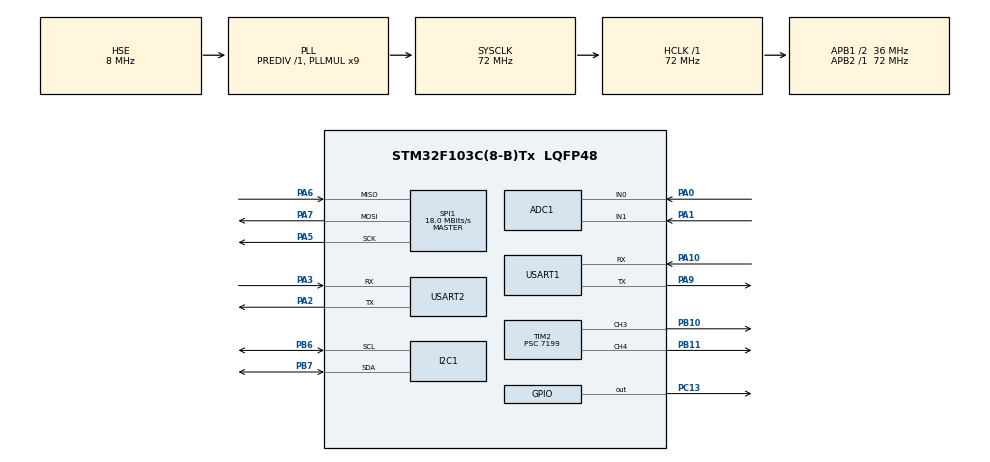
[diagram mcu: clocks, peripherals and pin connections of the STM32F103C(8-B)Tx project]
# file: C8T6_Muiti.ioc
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ADC1.Channel-0\#ChannelRegularConversion=ADC_CHANNEL_0
ADC1.Channel-1\#ChannelRegularConversion=ADC_CHANNEL_1
ADC1.ContinuousConvMode=ENABLE
ADC1.DataAlign=ADC_DATAALIGN_RIGHT
ADC1.DiscontinuousConvMode=DISABLE
ADC1.EnableAnalogWatchDog=true
ADC1.EnableRegularConversion=ENABLE
ADC1.ExternalTrigConv=ADC_SOFTWARE_START
ADC1.InjNumberOfConversion=0
ADC1.NbrOfConversion=2
ADC1.NbrOfConversionFlag=1
ADC1.Rank-0\#ChannelRegularConversion=1
ADC1.Rank-1\#ChannelRegularConversion=2
ADC1.SamplingTime-0\#ChannelRegularConversion=ADC_SAMPLETIME_239CYCLES_5
ADC1.SamplingTime-1\#ChannelRegularConversion=ADC_SAMPLETIME_239CYCLES_5
ADC1.ScanConvMode=ADC_SCAN_ENABLE
ADC1.master=1
Dma.ADC1.0.Direction=DMA_PERIPH_TO_MEMORY
Dma.ADC1.0.Instance=DMA1_Channel1
Dma.ADC1.0.MemDataAlignment=DMA_MDATAALIGN_HALFWORD
Dma.ADC1.0.MemInc=DMA_MINC_ENABLE
Dma.ADC1.0.Mode=DMA_NORMAL
Dma.ADC1.0.PeriphDataAlignment=DMA_PDATAALIGN_HALFWORD
Dma.ADC1.0.PeriphInc=DMA_PINC_DISABLE
Dma.ADC1.0.Priority=DMA_PRIORITY_LOW
Dma.Request0=ADC1
I2C1.DutyCycle=I2C_DUTYCYCLE_16_9
I2C1.I2C_Mode=I2C_Fast
Mcu.Family=STM32F1
Mcu.Name=STM32F103C(8-B)Tx
Mcu.Package=LQFP48
NVIC.ADC1_2_IRQn=true\:0\:0\:false\:false\:true
NVIC.DMA1_Channel1_IRQn=true\:0\:0\:false\:false\:true
NVIC.PriorityGroup=NVIC_PRIORITYGROUP_4
NVIC.RCC_IRQn=true\:0\:0\:false\:false\:true
NVIC.TIM2_IRQn=true\:0\:0\:false\:false\:true
NVIC.TIM3_IRQn=true\:0\:0\:false\:false\:true
NVIC.USART1_IRQn=true\:0\:0\:false\:false\:true
NVIC.USART2_IRQn=true\:0\:0\:false\:false\:true
PA0-WKUP.Signal=ADCx_IN0
PA1.Signal=ADCx_IN1
PA10.Mode=Asynchronous
PA10.Signal=USART1_RX
PA2.Mode=Asynchronous
PA2.Signal=USART2_TX
PA3.Mode=Asynchronous
PA3.Signal=USART2_RX
PA5.Mode=Full_Duplex_Master
PA5.Signal=SPI1_SCK
PA6.Mode=Full_Duplex_Master
PA6.Signal=SPI1_MISO
PA7.Mode=Full_Duplex_Master
PA7.Signal=SPI1_MOSI
PA9.Mode=Asynchronous
PA9.Signal=USART1_TX
PB10.Signal=S_TIM2_CH3
PB11.Signal=S_TIM2_CH4
PB6.Mode=I2C
PB6.Signal=I2C1_SCL
PB7.Mode=I2C
PB7.Signal=I2C1_SDA
PC13-TAMPER-RTC.Signal=GPIO_Output
PD0-OSC_IN.Mode=HSE-External-Oscillator
PD0-OSC_IN.Signal=RCC_OSC_IN
PD1-OSC_OUT.Mode=HSE-External-Oscillator
PD1-OSC_OUT.Signal=RCC_OSC_OUT
ProjectManager.HeapSize=0x200
ProjectManager.StackSize=0x400
ProjectManager.TargetToolchain=TrueSTUDIO
RCC.ADCPresc=RCC_ADCPCLK2_DIV6
RCC.AHBFreq_Value=72000000
RCC.APB1CLKDivider=RCC_HCLK_DIV2
RCC.APB1Freq_Value=36000000
RCC.APB1TimFreq_Value=72000000
RCC.APB2Freq_Value=72000000
RCC.APB2TimFreq_Value=72000000
RCC.HCLKFreq_Value=72000000
RCC.HSIState=RCC_HSI_ON
RCC.PLLMUL=RCC_PLL_MUL9
RCC.PLLSourceVirtual=RCC_PLLSOURCE_HSE
RCC.SYSCLKFreq_VALUE=72000000
RCC.SYSCLKSource=RCC_SYSCLKSOURCE_PLLCLK
RCC.USBFreq_Value=72000000
SH.ADCx_IN0.0=ADC1_IN0,IN0
SH.ADCx_IN1.0=ADC1_IN1,IN1
SH.S_TIM2_CH3.0=TIM2_CH3,PWM Generation3 CH3
SH.S_TIM2_CH4.0=TIM2_CH4,PWM Generation4 CH4
SPI1.BaudRatePrescaler=SPI_BAUDRATEPRESCALER_4
SPI1.CalculateBaudRate=18.0 MBits/s
SPI1.Mode=SPI_MODE_MASTER
TIM1.Period=9999
TIM1.Prescaler=7199
TIM2.Channel-PWM\ Generation3\ CH3=TIM_CHANNEL_3
TIM2.Channel-PWM\ Generation4\ CH4=TIM_CHANNEL_4
TIM2.Period=99
TIM2.Prescaler=7199
TIM3.Period=4999
TIM3.Prescaler=7199
VP_SYS_VS_ND.Mode=No_Debug
VP_TIM1_VS_ClockSourceINT.Mode=Internal
VP_TIM2_VS_ClockSourceINT.Mode=Internal
VP_TIM3_VS_ClockSourceINT.Mode=Internal
board=C8T6_Muiti

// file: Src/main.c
/**
  ******************************************************************************
  * File Name          : main.c
  * Description        : Main program body
  ******************************************************************************
  *
  * COPYRIGHT(c) 2017 STMicroelectronics
  *
  * Redistribution and use in source and binary forms, with or without modification,
  * are permitted provided that the following conditions are met:
  *   1. Redistributions of source code must retain the above copyright notice,
  *      this list of conditions and the following disclaimer.
  *   2. Redistributions in binary form must reproduce the above copyright notice,
  *      this list of conditions and the following disclaimer in the documentation
  *      and/or other materials provided with the distribution.
  *   3. Neither the name of STMicroelectronics nor the names of its contributors
  *      may be used to endorse or promote products derived from this software
  *      without specific prior written permission.
  *
  * THIS SOFTWARE IS PROVIDED BY THE COPYRIGHT HOLDERS AND CONTRIBUTORS "AS IS"
  * AND ANY EXPRESS OR IMPLIED WARRANTIES, INCLUDING, BUT NOT LIMITED TO, THE
  * IMPLIED WARRANTIES OF MERCHANTABILITY AND FITNESS FOR A PARTICULAR PURPOSE ARE
  * DISCLAIMED. IN NO EVENT SHALL THE COPYRIGHT HOLDER OR CONTRIBUTORS BE LIABLE
  * FOR ANY DIRECT, INDIRECT, INCIDENTAL, SPECIAL, EXEMPLARY, OR CONSEQUENTIAL
  * DAMAGES (INCLUDING, BUT NOT LIMITED TO, PROCUREMENT OF SUBSTITUTE GOODS OR
  * SERVICES; LOSS OF USE, DATA, OR PROFITS; OR BUSINESS INTERRUPTION) HOWEVER
  * CAUSED AND ON ANY THEORY OF LIABILITY, WHETHER IN CONTRACT, STRICT LIABILITY,
  * OR TORT (INCLUDING NEGLIGENCE OR OTHERWISE) ARISING IN ANY WAY OUT OF THE USE
  * OF THIS SOFTWARE, EVEN IF ADVISED OF THE POSSIBILITY OF SUCH DAMAGE.
  *
  ******************************************************************************
  */
#include "main.h"
#include "stm32f1xx_hal.h"

/* USER CODE BEGIN Includes */
#include <stdio.h>
#include <string.h>
#include <math.h>
#include "my_mpu6050.h"

/* USER CODE END Includes */

ADC_HandleTypeDef hadc1;
DMA_HandleTypeDef hdma_adc1;

I2C_HandleTypeDef hi2c1;

SPI_HandleTypeDef hspi1;

TIM_HandleTypeDef htim1;
TIM_HandleTypeDef htim2;
TIM_HandleTypeDef htim3;

UART_HandleTypeDef huart1;
UART_HandleTypeDef huart2;

/* USER CODE BEGIN PV */
/* Private variables ---------------------------------------------------------*/
uint8_t Rx_Data2;            // uart2 receive data buffer
uint8_t Transfer_cplt2=0;
uint8_t count = 0,n;
char    sprt[50],gyroData[60],bufdata[14]={0,},i2cTxData[2],CaliBuf[7];
uint8_t MpuSetReady = 0,i2cStart=0;
volatile char Ten = 0,calibrate = 0;

/* Initialization of variables for kalman filter */
float alpha = 0.9,FSSEL=131;
float x_next[7], P_next[7], z[7],K[7],nn[7]={0,},nnadd[7]={0,},Caliave[7]={0,};
float P[7]={1,1,1,1,1,1,1};
float Q[7]={0.001,0.001,0.001,0.001,0.001,0.001,0.001};
float R[7]={0.02,0.02,0.02,0.02,0.02,0.02,0.02};
float xfilter_value[7]={0,0,0,0,0,0,0};

// gyro angle 계산용
float temp;
float gyro_x,gyro_y,gyro_z;
float accel_x,accel_y,accel_z;
float angle_x,angle_y,angle_z;
float accel_angle_x,accel_angle_y,accel_angle_z;
float gyro_angle_x,gyro_angle_y,gyro_angle_z;
float last_x_angle=0,last_y_angle=0,last_z_angle=0;
float last_gyro_x_angle=0,last_gyro_y_angle=0,last_gyro_z_angle=0;
float unfiltered_gyro_angle_x,unfiltered_gyro_angle_y,unfiltered_gyro_angle_z;

/* USER CODE END PV */

void SystemClock_Config(void);
void Error_Handler(void);
static void MX_GPIO_Init(void);
static void MX_DMA_Init(void);
static void MX_ADC1_Init(void);
static void MX_I2C1_Init(void);
static void MX_SPI1_Init(void);
static void MX_TIM1_Init(void);
static void MX_TIM2_Init(void);
static void MX_USART1_UART_Init(void);
static void MX_TIM3_Init(void);
static void MX_USART2_UART_Init(void);

void HAL_TIM_MspPostInit(TIM_HandleTypeDef *htim);

/* USER CODE BEGIN PFP */
/* Private function prototypes -----------------------------------------------*/
void HAL_TIM_PeriodElapsedCallback(TIM_HandleTypeDef *htim);
void HAL_UART_RxCpltCallback(UART_HandleTypeDef *huart);
void kalman_filter();

/* USER CODE END PFP */

/* USER CODE BEGIN 0 */
void HAL_UART_RxCpltCallback(UART_HandleTypeDef *huart)
{
	if(huart->Instance==USART1){
		HAL_UART_Transmit(&huart1,(uint8_t *)&Rx_Data2, 1,1000);
		HAL_UART_Receive_IT(&huart1,(uint8_t *)&Rx_Data2, 1);
//		HAL_GPIO_TogglePin(LD2_GPIO_Port, LD2_Pin);
	}
/*	if(huart->Instance==UART5){
		HAL_UART_Transmit(&huart2,(uint8_t *)&Rx_Data5, 1,1000);
		HAL_UART_Receive_IT(&huart5,(uint8_t *)&Rx_Data5, 1);
	} */
}

void HAL_TIM_PeriodElapsedCallback(TIM_HandleTypeDef *htim)
{
	int n;

	if(htim->Instance==TIM2) {       // 1 sec interrupt
		HAL_GPIO_TogglePin(GPIOC, GPIO_PIN_13);
	}
	else if(htim->Instance==TIM3) {  // 1/100 sec interrupt
		//HAL_GPIO_TogglePin(GPIOC, GPIO_PIN_13);
		i2cTxData[0] = (uint8_t)0x3B;      // 0x3B - GYRO data register start address
		i2cTxData[1] = (uint8_t)0;         // 0
		while(HAL_I2C_Master_Transmit(&hi2c1,(uint16_t)MPU6050,(uint8_t *)&i2cTxData[0],1,1000)!=HAL_OK);  // 0x3B
		while(HAL_I2C_Master_Receive (&hi2c1,(uint16_t)MPU6050,(uint8_t *)bufdata,14,1000)!=HAL_OK);

		for(n=0;n<7;n++)	nn[n] = ((int16_t)(bufdata[n*2]<<8)| bufdata[n*2+1]);
	    memset(bufdata,0x00,14);

		// 10ms에 합번씩 총 10회 읽어서 10으로 나누어 평균으로 구한 뒤 칼만필터로 계산한다.
		// 단, 첫 10회 데이터를 획득하여 평균을 구한다. 시작시 1번만......
		Ten++;
		if(Ten < 10) {
			for(n=0;n<7;n++) nnadd[n] += nn[n];
			return;
		}
		else Ten = 10;
		// 10번 읽어 평균을 구한다. 한번만 실행....
		if(!calibrate) {
			for(n=0;n<7;n++)	Caliave[n] = nnadd[n] / 10.0; // 초기 평균값을 저장한다.
			calibrate = 1;
		}

		kalman_filter();
	}

}

// 7개의 값을 칼만필터 적용.........................................................
void kalman_filter()
{
	int ifilter;
	char fstr[100];

	// **********************************
    // Iteration loop .. 칼만 필터 적용..
	// **********************************
    for(ifilter=0;ifilter<7;ifilter++) {
    	x_next[ifilter]=xfilter_value[ifilter];
    	P_next[ifilter]=P[ifilter]+Q[ifilter];
    	K[ifilter]=P_next[ifilter]/(P_next[ifilter]+R[ifilter]);
    	// Original Data : z
    	z[ifilter]=(float)nn[ifilter];
    	// Kalman   filter : xfilter_value
    	xfilter_value[ifilter]=x_next[ifilter]+K[ifilter]*(z[ifilter]-x_next[ifilter]);
    	P[ifilter]=(1-K[ifilter])*P_next[ifilter];
    }

    accel_x = xfilter_value[0];
    accel_y = xfilter_value[1];
    accel_z = xfilter_value[2];
    temp    =  (xfilter_value[3]+12412)/340.0;
    gyro_x = (xfilter_value[4] - Caliave[4]) / FSSEL;
    gyro_y = (xfilter_value[5] - Caliave[5]) / FSSEL;
    gyro_z = (xfilter_value[6] - Caliave[6]) / FSSEL;

    // accelator 값 보정. atan(y/sqrt(pow(x,2)+pow(y,2))
    accel_angle_x = atan(accel_y   /sqrt(pow(accel_x,2)+pow(accel_z,2)))*57.29579;
    accel_angle_y = atan(-1*accel_x/sqrt(pow(accel_y,2)+pow(accel_z,2)))*57.29579;
    accel_angle_z = 0;

    accel_angle_x = (int)(accel_angle_x*10)/10.0;
    accel_angle_y = (int)(accel_angle_y*10)/10.0;

    // gyro angle 계산 1
    gyro_angle_x = (int)((gyro_x*0.01 + last_x_angle)*10) / 10.0;
    gyro_angle_y = (int)((gyro_y*0.01 + last_y_angle)*10) / 10.0;
//    gyro_angle_z = gyro_z*0.01 + last_z_angle;
    gyro_angle_z = (int)((gyro_z*0.035)*10) / 10.0 + last_z_angle;

    // gyro angle 계산 2
    unfiltered_gyro_angle_x = (int)((gyro_x*0.01 + last_gyro_x_angle)*10) / 10.0;
    unfiltered_gyro_angle_y = (int)((gyro_y*0.01 + last_gyro_y_angle)*10) / 10.0;
    unfiltered_gyro_angle_z = (int)((gyro_z*0.035 + last_gyro_z_angle)*10) / 10.0;

    // 최종각도 계산
    angle_x = alpha * gyro_angle_x + (1.0 - alpha) * accel_angle_x;
    angle_y = alpha * gyro_angle_y + (1.0 - alpha) * accel_angle_y;
    angle_z = gyro_angle_z;

    // 마지막 각도 저장...
    last_x_angle = angle_x;
    last_y_angle = angle_y;
    last_z_angle = angle_z;
    last_gyro_x_angle = unfiltered_gyro_angle_x;
    last_gyro_y_angle = unfiltered_gyro_angle_y;
    last_gyro_z_angle = unfiltered_gyro_angle_z;

    sprintf(fstr,"ACC:%7.2f,%7.2f,%7.2f#GYR:%7.2f,%7.2f,%7.2f#FIL:%7.2f,%7.2f,%7.2f\r\n",
    		accel_angle_x,accel_angle_y,accel_angle_z,             	// ACCEL
			unfiltered_gyro_angle_x,unfiltered_gyro_angle_y,unfiltered_gyro_angle_z, // GYRO
			angle_x,angle_y,angle_z*-1		// Filtered
    );

    // 특성->c/c++build->setting->c linker->general->tool setting->runtime library->newlib standard
    HAL_UART_Transmit(&huart1,(uint8_t *)fstr, strlen(fstr),1000);
}

/* USER CODE END 0 */

int main(void)
{

  /* MCU Configuration----------------------------------------------------------*/

  /* Reset of all peripherals, Initializes the Flash interface and the Systick. */
  HAL_Init();

  /* Configure the system clock */
  SystemClock_Config();

  /* Initialize all configured peripherals */
  MX_GPIO_Init();
  MX_DMA_Init();
  MX_ADC1_Init();
  MX_I2C1_Init();
  MX_SPI1_Init();
  MX_TIM1_Init();
  MX_TIM2_Init();
  MX_USART1_UART_Init();
  MX_TIM3_Init();
  MX_USART2_UART_Init();

  /* USER CODE BEGIN 2 */

  /*   pwm설정시 반드시 1ms로 설정할것.....
   *   htim2.Init.Prescaler = 71;
  	   htim2.Init.CounterMode = TIM_COUNTERMODE_UP;
  	   htim2.Init.Period = 999;
   *
   */
//  while(HAL_TIM_PWM_Start(&htim2,TIM_CHANNEL_3 )!=HAL_OK);
//  while(HAL_TIM_PWM_Start(&htim2,TIM_CHANNEL_4 )!=HAL_OK);

  /* USER CODE END 2 */

  /* Infinite loop */
  /* USER CODE BEGIN WHILE */
  // START MPU6050 --------------------------------------------------------------------
  // 만약 mpu6050이 연결되어 있지 않으면 무한루프에 빠짐.

  i2cTxData[0] = (uint8_t)RA_PWR_ADDR;      // 0x6B ; power on
  i2cTxData[1] = (uint8_t) RA_PWR_MGMT_1;    // 0
  while(HAL_I2C_Master_Transmit(&hi2c1,(uint16_t)MPU6050,(uint8_t *)i2cTxData,2,1000)!=HAL_OK);
  HAL_Delay(200);    // wait 0.1 sec for MPU6050 START

  i2cTxData[0] = (uint8_t)RA_USER_CTRL;     // 0x6A ;
  i2cTxData[1] = (uint8_t)USER_CTRL;        // 0
  while(HAL_I2C_Master_Transmit(&hi2c1,(uint16_t)MPU6050,(uint8_t *)i2cTxData,2,1000)!=HAL_OK);

  i2cTxData[0] = (uint8_t)RA_INT_PIN_CFG;   // 0x37 ;
  i2cTxData[1] = (uint8_t)PIN_CFG;          // 0
  while(HAL_I2C_Master_Transmit(&hi2c1,(uint16_t)MPU6050,(uint8_t *)i2cTxData,2,1000)!=HAL_OK);

  i2cTxData[0] = (uint8_t)0x24;
  i2cTxData[1] = (uint8_t)20;
  while(HAL_I2C_Master_Transmit(&hi2c1,(uint16_t)MPU6050,(uint8_t *)i2cTxData,2,1000)!=HAL_OK);

  i2cTxData[0] = (uint8_t)RA_SMPLRT_DIV;    // 0x19 ;
  i2cTxData[1] = (uint8_t)SMPLRT_DIV;       // 19
  while(HAL_I2C_Master_Transmit(&hi2c1,(uint16_t)MPU6050,(uint8_t *)i2cTxData,2,1000)!=HAL_OK);

  i2cTxData[0] = (uint8_t)RA_GYRO_CONFIG;   // 0x1B ;
  i2cTxData[1] = (uint8_t)USER_CTRL;        // 0
  while(HAL_I2C_Master_Transmit(&hi2c1,(uint16_t)MPU6050,(uint8_t *)i2cTxData,2,1000)!=HAL_OK);

  i2cTxData[0] = (uint8_t)RA_ACCEL_CONFIG;  // 0x1C ;
  i2cTxData[1] = (uint8_t)USER_CTRL;        // 0
  while(HAL_I2C_Master_Transmit(&hi2c1,(uint16_t)MPU6050,(uint8_t *)i2cTxData,2,1000)!=HAL_OK);

  i2cTxData[0] = (uint8_t)RA_CONFIG;        // 0x1A ;
  i2cTxData[1] = (uint8_t)0;                // 0
  while(HAL_I2C_Master_Transmit(&hi2c1,(uint16_t)MPU6050,(uint8_t *)i2cTxData,2,1000)!=HAL_OK);

	// END   MPU6050 --------------------------------------------------------------------

  i2cTxData[0] = (uint8_t)RA_WHO_AM_I;      // 0x75 ; who am i
  i2cTxData[1] = (uint8_t)1;                // 0
  while(HAL_I2C_Master_Transmit(&hi2c1,(uint16_t)MPU6050,(uint8_t *)&i2cTxData[0],1,1000)!=HAL_OK);
  while(HAL_I2C_Master_Receive (&hi2c1,(uint16_t)MPU6050,(uint8_t *)whoAmI,2,1000)!=HAL_OK);

  while(HAL_TIM_Base_Start_IT(&htim1)!=HAL_OK);
  while(HAL_TIM_Base_Start_IT(&htim2)!=HAL_OK);
  while(HAL_TIM_Base_Start_IT(&htim3)!=HAL_OK);

//  int x = 0;
  while (1)
  {
  /* USER CODE END WHILE */

  /* USER CODE BEGIN 3 */
	  /*
	  for(x=0;x<=1000;x++) {
		  TIM2->CCR3 = x;
		  HAL_Delay(3);
	  }
	  HAL_Delay(700);
	  for(x=1000;x>=0;x--) {
		  TIM2->CCR3 = x;
		  HAL_Delay(3);
	  }
	  HAL_Delay(700); */
  }

  /* USER CODE END 3 */

}

/** System Clock Configuration
*/
void SystemClock_Config(void)
{

  RCC_OscInitTypeDef RCC_OscInitStruct;
  RCC_ClkInitTypeDef RCC_ClkInitStruct;
  RCC_PeriphCLKInitTypeDef PeriphClkInit;

    /**Initializes the CPU, AHB and APB busses clocks
    */
  RCC_OscInitStruct.OscillatorType = RCC_OSCILLATORTYPE_HSE;
  RCC_OscInitStruct.HSEState = RCC_HSE_ON;
  RCC_OscInitStruct.HSEPredivValue = RCC_HSE_PREDIV_DIV1;
  RCC_OscInitStruct.HSIState = RCC_HSI_ON;
  RCC_OscInitStruct.PLL.PLLState = RCC_PLL_ON;
  RCC_OscInitStruct.PLL.PLLSource = RCC_PLLSOURCE_HSE;
  RCC_OscInitStruct.PLL.PLLMUL = RCC_PLL_MUL9;
  if (HAL_RCC_OscConfig(&RCC_OscInitStruct) != HAL_OK)
  {
    Error_Handler();
  }

    /**Initializes the CPU, AHB and APB busses clocks
    */
  RCC_ClkInitStruct.ClockType = RCC_CLOCKTYPE_HCLK|RCC_CLOCKTYPE_SYSCLK
                              |RCC_CLOCKTYPE_PCLK1|RCC_CLOCKTYPE_PCLK2;
  RCC_ClkInitStruct.SYSCLKSource = RCC_SYSCLKSOURCE_PLLCLK;
  RCC_ClkInitStruct.AHBCLKDivider = RCC_SYSCLK_DIV1;
  RCC_ClkInitStruct.APB1CLKDivider = RCC_HCLK_DIV2;
  RCC_ClkInitStruct.APB2CLKDivider = RCC_HCLK_DIV1;

  if (HAL_RCC_ClockConfig(&RCC_ClkInitStruct, FLASH_LATENCY_2) != HAL_OK)
  {
    Error_Handler();
  }

  PeriphClkInit.PeriphClockSelection = RCC_PERIPHCLK_ADC;
  PeriphClkInit.AdcClockSelection = RCC_ADCPCLK2_DIV6;
  if (HAL_RCCEx_PeriphCLKConfig(&PeriphClkInit) != HAL_OK)
  {
    Error_Handler();
  }

    /**Configure the Systick interrupt time
    */
  HAL_SYSTICK_Config(HAL_RCC_GetHCLKFreq()/1000);

    /**Configure the Systick
    */
  HAL_SYSTICK_CLKSourceConfig(SYSTICK_CLKSOURCE_HCLK);

  /* SysTick_IRQn interrupt configuration */
  HAL_NVIC_SetPriority(SysTick_IRQn, 0, 0);
}

/* ADC1 init function */
static void MX_ADC1_Init(void)
{

  ADC_AnalogWDGConfTypeDef AnalogWDGConfig;
  ADC_ChannelConfTypeDef sConfig;

    /**Common config
    */
  hadc1.Instance = ADC1;
  hadc1.Init.ScanConvMode = ADC_SCAN_ENABLE;
  hadc1.Init.ContinuousConvMode = ENABLE;
  hadc1.Init.DiscontinuousConvMode = DISABLE;
  hadc1.Init.ExternalTrigConv = ADC_SOFTWARE_START;
  hadc1.Init.DataAlign = ADC_DATAALIGN_RIGHT;
  hadc1.Init.NbrOfConversion = 2;
  if (HAL_ADC_Init(&hadc1) != HAL_OK)
  {
    Error_Handler();
  }

    /**Configure Analog WatchDog 1
    */
  AnalogWDGConfig.WatchdogMode = ADC_ANALOGWATCHDOG_SINGLE_REG;
  AnalogWDGConfig.HighThreshold = 0;
  AnalogWDGConfig.LowThreshold = 0;
  AnalogWDGConfig.Channel = ADC_CHANNEL_0;
  AnalogWDGConfig.ITMode = DISABLE;
  if (HAL_ADC_AnalogWDGConfig(&hadc1, &AnalogWDGConfig) != HAL_OK)
  {
    Error_Handler();
  }

    /**Configure Regular Channel
    */
  sConfig.Channel = ADC_CHANNEL_0;
  sConfig.Rank = 1;
  sConfig.SamplingTime = ADC_SAMPLETIME_239CYCLES_5;
  if (HAL_ADC_ConfigChannel(&hadc1, &sConfig) != HAL_OK)
  {
    Error_Handler();
  }

    /**Configure Regular Channel
    */
  sConfig.Channel = ADC_CHANNEL_1;
  sConfig.Rank = 2;
  if (HAL_ADC_ConfigChannel(&hadc1, &sConfig) != HAL_OK)
  {
    Error_Handler();
  }

}

/* I2C1 init function */
static void MX_I2C1_Init(void)
{

  hi2c1.Instance = I2C1;
  hi2c1.Init.ClockSpeed = 400000;
  hi2c1.Init.DutyCycle = I2C_DUTYCYCLE_16_9;
  hi2c1.Init.OwnAddress1 = 0;
  hi2c1.Init.AddressingMode = I2C_ADDRESSINGMODE_7BIT;
  hi2c1.Init.DualAddressMode = I2C_DUALADDRESS_DISABLE;
  hi2c1.Init.OwnAddress2 = 0;
  hi2c1.Init.GeneralCallMode = I2C_GENERALCALL_DISABLE;
  hi2c1.Init.NoStretchMode = I2C_NOSTRETCH_DISABLE;
  if (HAL_I2C_Init(&hi2c1) != HAL_OK)
  {
    Error_Handler();
  }

}

/* SPI1 init function */
static void MX_SPI1_Init(void)
{

  hspi1.Instance = SPI1;
  hspi1.Init.Mode = SPI_MODE_MASTER;
  hspi1.Init.Direction = SPI_DIRECTION_2LINES;
  hspi1.Init.DataSize = SPI_DATASIZE_8BIT;
  hspi1.Init.CLKPolarity = SPI_POLARITY_LOW;
  hspi1.Init.CLKPhase = SPI_PHASE_1EDGE;
  hspi1.Init.NSS = SPI_NSS_SOFT;
  hspi1.Init.BaudRatePrescaler = SPI_BAUDRATEPRESCALER_4;
  hspi1.Init.FirstBit = SPI_FIRSTBIT_MSB;
  hspi1.Init.TIMode = SPI_TIMODE_DISABLE;
  hspi1.Init.CRCCalculation = SPI_CRCCALCULATION_DISABLE;
  hspi1.Init.CRCPolynomial = 10;
  if (HAL_SPI_Init(&hspi1) != HAL_OK)
  {
    Error_Handler();
  }

}

/* TIM1 init function */
static void MX_TIM1_Init(void)
{

  TIM_ClockConfigTypeDef sClockSourceConfig;
  TIM_MasterConfigTypeDef sMasterConfig;

  htim1.Instance = TIM1;
  htim1.Init.Prescaler = 7199;
  htim1.Init.CounterMode = TIM_COUNTERMODE_UP;
  htim1.Init.Period = 9999;
  htim1.Init.ClockDivision = TIM_CLOCKDIVISION_DIV1;
  htim1.Init.RepetitionCounter = 0;
  if (HAL_TIM_Base_Init(&htim1) != HAL_OK)
  {
    Error_Handler();
  }

  sClockSourceConfig.ClockSource = TIM_CLOCKSOURCE_INTERNAL;
  if (HAL_TIM_ConfigClockSource(&htim1, &sClockSourceConfig) != HAL_OK)
  {
    Error_Handler();
  }

  sMasterConfig.MasterOutputTrigger = TIM_TRGO_RESET;
  sMasterConfig.MasterSlaveMode = TIM_MASTERSLAVEMODE_DISABLE;
  if (HAL_TIMEx_MasterConfigSynchronization(&htim1, &sMasterConfig) != HAL_OK)
  {
    Error_Handler();
  }

}

/* TIM2 init function */
static void MX_TIM2_Init(void)
{

  TIM_ClockConfigTypeDef sClockSourceConfig;
  TIM_MasterConfigTypeDef sMasterConfig;
  TIM_OC_InitTypeDef sConfigOC;

  htim2.Instance = TIM2;
  htim2.Init.Prescaler = 7199;
  htim2.Init.CounterMode = TIM_COUNTERMODE_UP;
  htim2.Init.Period = 4999;
  htim2.Init.ClockDivision = TIM_CLOCKDIVISION_DIV1;
  if (HAL_TIM_Base_Init(&htim2) != HAL_OK)
  {
    Error_Handler();
  }

  sClockSourceConfig.ClockSource = TIM_CLOCKSOURCE_INTERNAL;
  if (HAL_TIM_ConfigClockSource(&htim2, &sClockSourceConfig) != HAL_OK)
  {
    Error_Handler();
  }

  if (HAL_TIM_PWM_Init(&htim2) != HAL_OK)
  {
    Error_Handler();
  }

  sMasterConfig.MasterOutputTrigger = TIM_TRGO_RESET;
  sMasterConfig.MasterSlaveMode = TIM_MASTERSLAVEMODE_DISABLE;
  if (HAL_TIMEx_MasterConfigSynchronization(&htim2, &sMasterConfig) != HAL_OK)
  {
    Error_Handler();
  }

  sConfigOC.OCMode = TIM_OCMODE_PWM1;
  sConfigOC.Pulse = 0;
  sConfigOC.OCPolarity = TIM_OCPOLARITY_HIGH;
  sConfigOC.OCFastMode = TIM_OCFAST_DISABLE;
  if (HAL_TIM_PWM_ConfigChannel(&htim2, &sConfigOC, TIM_CHANNEL_3) != HAL_OK)
  {
    Error_Handler();
  }

  if (HAL_TIM_PWM_ConfigChannel(&htim2, &sConfigOC, TIM_CHANNEL_4) != HAL_OK)
  {
    Error_Handler();
  }

  HAL_TIM_MspPostInit(&htim2);

}

/* TIM3 init function */
static void MX_TIM3_Init(void)
{

  TIM_ClockConfigTypeDef sClockSourceConfig;
  TIM_MasterConfigTypeDef sMasterConfig;

  htim3.Instance = TIM3;
  htim3.Init.Prescaler = 7199;
  htim3.Init.CounterMode = TIM_COUNTERMODE_UP;
  htim3.Init.Period = 999;
  htim3.Init.ClockDivision = TIM_CLOCKDIVISION_DIV1;
  if (HAL_TIM_Base_Init(&htim3) != HAL_OK)
  {
    Error_Handler();
  }

  sClockSourceConfig.ClockSource = TIM_CLOCKSOURCE_INTERNAL;
  if (HAL_TIM_ConfigClockSource(&htim3, &sClockSourceConfig) != HAL_OK)
  {
    Error_Handler();
  }

  sMasterConfig.MasterOutputTrigger = TIM_TRGO_RESET;
  sMasterConfig.MasterSlaveMode = TIM_MASTERSLAVEMODE_DISABLE;
  if (HAL_TIMEx_MasterConfigSynchronization(&htim3, &sMasterConfig) != HAL_OK)
  {
    Error_Handler();
  }

}

/* USART1 init function */
static void MX_USART1_UART_Init(void)
{

  huart1.Instance = USART1;
  huart1.Init.BaudRate = 115200;
  huart1.Init.WordLength = UART_WORDLENGTH_8B;
  huart1.Init.StopBits = UART_STOPBITS_1;
  huart1.Init.Parity = UART_PARITY_NONE;
  huart1.Init.Mode = UART_MODE_TX_RX;
  huart1.Init.HwFlowCtl = UART_HWCONTROL_NONE;
  huart1.Init.OverSampling = UART_OVERSAMPLING_16;
  if (HAL_UART_Init(&huart1) != HAL_OK)
  {
    Error_Handler();
  }

}

/* USART2 init function */
static void MX_USART2_UART_Init(void)
{

  huart2.Instance = USART2;
  huart2.Init.BaudRate = 115200;
  huart2.Init.WordLength = UART_WORDLENGTH_8B;
  huart2.Init.StopBits = UART_STOPBITS_1;
  huart2.Init.Parity = UART_PARITY_NONE;
  huart2.Init.Mode = UART_MODE_TX_RX;
  huart2.Init.HwFlowCtl = UART_HWCONTROL_NONE;
  huart2.Init.OverSampling = UART_OVERSAMPLING_16;
  if (HAL_UART_Init(&huart2) != HAL_OK)
  {
    Error_Handler();
  }

}

static void MX_DMA_Init(void)
{
  /* DMA controller clock enable */
  __HAL_RCC_DMA1_CLK_ENABLE();

  /* DMA interrupt init */
  /* DMA1_Channel1_IRQn interrupt configuration */
  HAL_NVIC_SetPriority(DMA1_Channel1_IRQn, 0, 0);
  HAL_NVIC_EnableIRQ(DMA1_Channel1_IRQn);

}

/** Configure pins as
        * Analog
        * Input
        * Output
        * EVENT_OUT
        * EXTI
*/
static void MX_GPIO_Init(void)
{

  GPIO_InitTypeDef GPIO_InitStruct;

  /* GPIO Ports Clock Enable */
  __HAL_RCC_GPIOC_CLK_ENABLE();
  __HAL_RCC_GPIOD_CLK_ENABLE();
  __HAL_RCC_GPIOA_CLK_ENABLE();
  __HAL_RCC_GPIOB_CLK_ENABLE();

  /*Configure GPIO pin Output Level */
  HAL_GPIO_WritePin(GPIOC, GPIO_PIN_13, GPIO_PIN_RESET);

  /*Configure GPIO pin : PC13 */
  GPIO_InitStruct.Pin = GPIO_PIN_13;
  GPIO_InitStruct.Mode = GPIO_MODE_OUTPUT_PP;
  GPIO_InitStruct.Speed = GPIO_SPEED_FREQ_LOW;
  HAL_GPIO_Init(GPIOC, &GPIO_InitStruct);

}

void Error_Handler(void)
{
  while(1)
  {
  }
}

/************************ (C) COPYRIGHT STMicroelectronics *****END OF FILE****/
